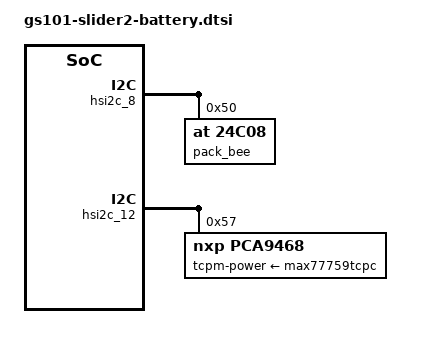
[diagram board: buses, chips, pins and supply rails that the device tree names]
// SPDX-License-Identifier: GPL-2.0-only
/*
 * Battery device tree entries specific to slider v2
 *
 * Copyright 2020 Google LLC
 *
 */

/ {
	fragment@gcpm {
		target-path = "/";
		__overlay__ {
			google,cpm {
				google,chg-power-supplies = "main-charger",
							    "pca9468-mains";

				/* S2MPG11X01 -> GPIO_6 -> CHARGE_PUMP_EN */
				google,dc-en = <&s2mpg11_gpio 0 0>;
				/* DC enabled by default */
				google,dc-en-value = <1>;

				google,tcpm-power-supply = <&max77759tcpc>;
				google,pps-awake;
			};
		};
	};
};

&hsi2c_8 {
	#address-cells = <1>;
	#size-cells = <0>;
	status = "okay";

	pinctrl-names = "default";
	pinctrl-0 = <&hsi2c8_bus>;

	pack_bee: m24c08@50 {
		status = "okay";
		compatible = "at,24c08";

		reg = <0x50>;
	};
};

&hsi2c_12 {
	#address-cells = <1>;
	#size-cells = <0>;
	status = "okay";

	pca9468@57 {
		compatible = "nxp,pca9468";
		reg = <0x57>;

		/* TODO: add IRQ pca9468,irq-gpio = <xxx>; */

		pca9468,input-current-limit = <2000000>; /* 2.0A */
		pca9468,charging-current = <4000000>; /* 4A */
		pca9468,float-voltage = <4300000>; /* 4.3V */

		pca9468,input-itopoff = <500000>; /* 500mA */
		pca9468,sense-resistance = <0>; /* 5mOhm */
		pca9468,switching-frequency = <3>; /* 980KHz */

		/* disable USBC NTC */
		pca9468,ntc-threshold = <0>; /* disabled */

		/* enable passthrough PPS */
		google,tcpm-power-supply = <&max77759tcpc>;

		/* USBC thermal zone */
		google,usb-port-tz-name = "usbc-therm-adc";
	};
};
